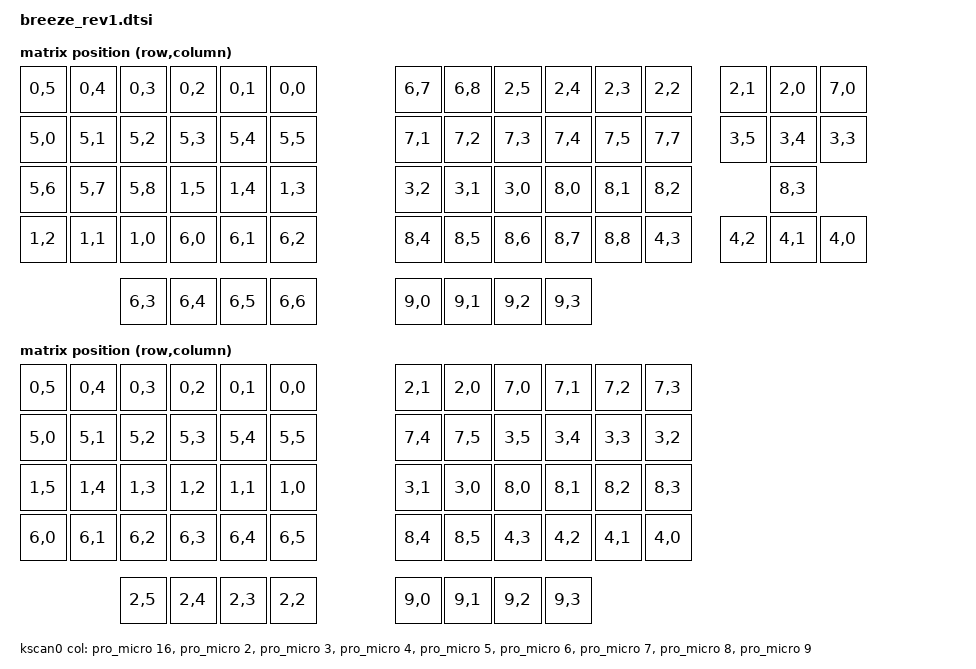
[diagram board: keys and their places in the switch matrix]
/*
 * Copyright (c) 2022 The ZMK Contributors
 *
 * SPDX-License-Identifier: MIT
 */

#include <dt-bindings/zmk/matrix_transform.h>
#include <physical_layouts.dtsi>

/ {
	chosen {
		zmk,kscan = &kscan0;
	};

	default_transform: keymap_transform_0 {
		compatible = "zmk,matrix-transform";
		columns = <9>;
		rows = <10>;
// | SW6  | SW5  | SW4  | SW3  | SW2  | SW1  |                 | SW1  | SW2  | SW3  | SW4  | SW5  | SW6  | MC1  | MC2  | MC3  |
// | SW12 | SW11 | SW10 | SW9  | SW8  | SW7  |                 | SW7  | SW8  | SW9  | SW10 | SW11 | SW12 | MC4  | MC5  | MC6  |
// | SW18 | SW17 | SW16 | SW15 | SW14 | SW13 |                 | SW13 | SW14 | SW15 | SW16 | SW17 | SW18 |      |  ↑   |      |
// | SW24 | SW23 | SW22 | SW21 | SW20 | SW19 |                 | SW19 | SW20 | SW21 | SW22 | SW23 | SW24 |  ←   |  ↓   |  →   |
//                      | TC4  | TC3  | TC2  | TC1  |   | TC1  | TC2  | TC3  | TC4  |
		map = <
RC(0,5) RC(0,4) RC(0,3) RC(0,2) RC(0,1) RC(0,0)                 RC(5,0) RC(5,1) RC(5,2) RC(5,3) RC(5,4) RC(5,5) RC(5,6) RC(5,7) RC(5,8)
RC(1,5) RC(1,4) RC(1,3) RC(1,2) RC(1,1) RC(1,0)                 RC(6,0) RC(6,1) RC(6,2) RC(6,3) RC(6,4) RC(6,5) RC(6,6) RC(6,7) RC(6,8)
RC(2,5) RC(2,4) RC(2,3) RC(2,2) RC(2,1) RC(2,0)                 RC(7,0) RC(7,1) RC(7,2) RC(7,3) RC(7,4) RC(7,5)         RC(7,7)
RC(3,5) RC(3,4) RC(3,3) RC(3,2) RC(3,1) RC(3,0)                 RC(8,0) RC(8,1) RC(8,2) RC(8,3) RC(8,4) RC(8,5) RC(8,6) RC(8,7) RC(8,8)
                        RC(4,3) RC(4,2) RC(4,1) RC(4,0) RC(9,0) RC(9,1) RC(9,2) RC(9,3)
		>;
	};

	five_column_transform: keymap_transform_1 {
		compatible = "zmk,matrix-transform";
		columns = <6>;
		rows = <10>;
// | SW6  | SW5  | SW4  | SW3  | SW2  | SW1  |                 | SW1  | SW2  | SW3  | SW4  | SW5  | SW6  |
// | SW12 | SW11 | SW10 | SW9  | SW8  | SW7  |                 | SW7  | SW8  | SW9  | SW10 | SW11 | SW12 |
// | SW18 | SW17 | SW16 | SW15 | SW14 | SW13 |                 | SW13 | SW14 | SW15 | SW16 | SW17 | SW18 |
// | SW24 | SW23 | SW22 | SW21 | SW20 | SW19 |                 | SW19 | SW20 | SW21 | SW22 | SW23 | SW24 |
//                      | TC4  | TC3  | TC2  | TC1  |   | TC1  | TC2  | TC3  | TC4  |
		map = <
RC(0,5) RC(0,4) RC(0,3) RC(0,2) RC(0,1) RC(0,0)                 RC(5,0) RC(5,1) RC(5,2) RC(5,3) RC(5,4) RC(5,5)
RC(1,5) RC(1,4) RC(1,3) RC(1,2) RC(1,1) RC(1,0)                 RC(6,0) RC(6,1) RC(6,2) RC(6,3) RC(6,4) RC(6,5)
RC(2,5) RC(2,4) RC(2,3) RC(2,2) RC(2,1) RC(2,0)                 RC(7,0) RC(7,1) RC(7,2) RC(7,3) RC(7,4) RC(7,5)
RC(3,5) RC(3,4) RC(3,3) RC(3,2) RC(3,1) RC(3,0)                 RC(8,0) RC(8,1) RC(8,2) RC(8,3) RC(8,4) RC(8,5)
                        RC(4,3) RC(4,2) RC(4,1) RC(4,0) RC(9,0) RC(9,1) RC(9,2) RC(9,3)
		>;
	};


	kscan0: kscan {
		compatible = "zmk,kscan-gpio-matrix";
		label = "KSCAN";

		diode-direction = "col2row";
		col-gpios
			= <&pro_micro 16 GPIO_ACTIVE_HIGH>
			, <&pro_micro 2  GPIO_ACTIVE_HIGH>
			, <&pro_micro 3  GPIO_ACTIVE_HIGH>
			, <&pro_micro 4  GPIO_ACTIVE_HIGH>
			, <&pro_micro 5  GPIO_ACTIVE_HIGH>
			, <&pro_micro 6  GPIO_ACTIVE_HIGH>
			, <&pro_micro 7  GPIO_ACTIVE_HIGH>
			, <&pro_micro 8  GPIO_ACTIVE_HIGH>
			, <&pro_micro 9  GPIO_ACTIVE_HIGH>
			;
	};

	breeze_rev1_layout: breeze_rev1_layout {
		compatible = "zmk,physical-layout";
		display-name = "Default";
		transform = <&default_transform>;
		kscan = <&kscan0>;
		keys
		// w   h    x    y   r  rx  ry
		= <&key_physical_attrs 100 100    0    0 0 0 0>  // L0: RC(0,5)
		, <&key_physical_attrs 100 100  100    0 0 0 0>  // L1: RC(0,4)
		, <&key_physical_attrs 100 100  200    0 0 0 0>  // L2: RC(0,3)
		, <&key_physical_attrs 100 100  300    0 0 0 0>  // L3: RC(0,2)
		, <&key_physical_attrs 100 100  400    0 0 0 0>  // L4: RC(0,1)
		, <&key_physical_attrs 100 100  500    0 0 0 0>  // L5: RC(0,0)
		, <&key_physical_attrs 100 100    0  100 0 0 0>  // L6: RC(1,5)
		, <&key_physical_attrs 100 100  100  100 0 0 0>  // L7: RC(1,4)
		, <&key_physical_attrs 100 100  200  100 0 0 0>  // L8: RC(1,3)
		, <&key_physical_attrs 100 100  300  100 0 0 0>  // L9: RC(1,2)
		, <&key_physical_attrs 100 100  400  100 0 0 0>  // L10: RC(1,1)
		, <&key_physical_attrs 100 100  500  100 0 0 0>  // L11: RC(1,0)
		, <&key_physical_attrs 100 100    0  200 0 0 0>  // L12: RC(2,5)
		, <&key_physical_attrs 100 100  100  200 0 0 0>  // L13: RC(2,4)
		, <&key_physical_attrs 100 100  200  200 0 0 0>  // L14: RC(2,3)
		, <&key_physical_attrs 100 100  300  200 0 0 0>  // L15: RC(2,2)
		, <&key_physical_attrs 100 100  400  200 0 0 0>  // L16: RC(2,1)
		, <&key_physical_attrs 100 100  500  200 0 0 0>  // L17: RC(2,0)
		, <&key_physical_attrs 100 100    0  300 0 0 0>  // L18: RC(3,5)
		, <&key_physical_attrs 100 100  100  300 0 0 0>  // L19: RC(3,4)
		, <&key_physical_attrs 100 100  200  300 0 0 0>  // L20: RC(3,3)
		, <&key_physical_attrs 100 100  300  300 0 0 0>  // L21: RC(3,2)
		, <&key_physical_attrs 100 100  400  300 0 0 0>  // L22: RC(3,1)
		, <&key_physical_attrs 100 100  500  300 0 0 0>  // L23: RC(3,0)
		, <&key_physical_attrs 100 100  200  425 0 0 0>  // L24: RC(4,3) TC4
		, <&key_physical_attrs 100 100  300  425 0 0 0>  // L25: RC(4,2) TC3
		, <&key_physical_attrs 100 100  400  425 0 0 0>  // L26: RC(4,1) TC2
		, <&key_physical_attrs 100 100  500  425 0 0 0>  // L27: RC(4,0) TC1
		, <&key_physical_attrs 100 100  750    0 0 0 0>  // R0: RC(5,0) SW1
		, <&key_physical_attrs 100 100  850    0 0 0 0>  // R1: RC(5,1) SW2
		, <&key_physical_attrs 100 100  950    0 0 0 0>  // R2: RC(5,2) SW3
		, <&key_physical_attrs 100 100 1050    0 0 0 0>  // R3: RC(5,3) SW4
		, <&key_physical_attrs 100 100 1150    0 0 0 0>  // R4: RC(5,4) SW5
		, <&key_physical_attrs 100 100 1250    0 0 0 0>  // R5: RC(5,5) SW6
		, <&key_physical_attrs 100 100 1400    0 0 0 0>  // R6: RC(5,6) MC1
		, <&key_physical_attrs 100 100 1500    0 0 0 0>  // R7: RC(5,7) MC2
		, <&key_physical_attrs 100 100 1600    0 0 0 0>  // R8: RC(5,8) MC3
		, <&key_physical_attrs 100 100  750  100 0 0 0>  // R9: RC(6,0) SW7
		, <&key_physical_attrs 100 100  850  100 0 0 0>  // R10: RC(6,1) SW8
		, <&key_physical_attrs 100 100  950  100 0 0 0>  // R11: RC(6,2) SW9
		, <&key_physical_attrs 100 100 1050  100 0 0 0>  // R12: RC(6,3) SW10
		, <&key_physical_attrs 100 100 1150  100 0 0 0>  // R13: RC(6,4) SW11
		, <&key_physical_attrs 100 100 1250  100 0 0 0>  // R14: RC(6,5) SW12
		, <&key_physical_attrs 100 100 1400  100 0 0 0>  // R15: RC(6,6) MC4
		, <&key_physical_attrs 100 100 1500  100 0 0 0>  // R16: RC(6,7) MC5
		, <&key_physical_attrs 100 100 1600  100 0 0 0>  // R17: RC(6,8) MC6
		, <&key_physical_attrs 100 100  750  200 0 0 0>  // R18: RC(7,0) SW13
		, <&key_physical_attrs 100 100  850  200 0 0 0>  // R19: RC(7,1) SW14
		, <&key_physical_attrs 100 100  950  200 0 0 0>  // R20: RC(7,2) SW15
		, <&key_physical_attrs 100 100 1050  200 0 0 0>  // R21: RC(7,3) SW16
		, <&key_physical_attrs 100 100 1150  200 0 0 0>  // R22: RC(7,4) SW17
		, <&key_physical_attrs 100 100 1250  200 0 0 0>  // R23: RC(7,5) SW18
		, <&key_physical_attrs 100 100 1500  200 0 0 0>  // R24: RC(7,7) UP
		, <&key_physical_attrs 100 100  750  300 0 0 0>  // R25: RC(8,0) SW19
		, <&key_physical_attrs 100 100  850  300 0 0 0>  // R26: RC(8,1) SW20
		, <&key_physical_attrs 100 100  950  300 0 0 0>  // R27: RC(8,2) SW21
		, <&key_physical_attrs 100 100 1050  300 0 0 0>  // R28: RC(8,3) SW22
		, <&key_physical_attrs 100 100 1150  300 0 0 0>  // R29: RC(8,4) SW23
		, <&key_physical_attrs 100 100 1250  300 0 0 0>  // R30: RC(8,5) SW24
		, <&key_physical_attrs 100 100 1400  300 0 0 0>  // R31: RC(8,6) LEFT
		, <&key_physical_attrs 100 100 1500  300 0 0 0>  // R32: RC(8,7) DOWN
		, <&key_physical_attrs 100 100 1600  300 0 0 0>  // R33: RC(8,8) RIGHT
		, <&key_physical_attrs 100 100  750  425 0 0 0>  // R34: RC(9,0) TC1
		, <&key_physical_attrs 100 100  850  425 0 0 0>  // R35: RC(9,1) TC2
		, <&key_physical_attrs 100 100  950  425 0 0 0>  // R36: RC(9,2) TC3
		, <&key_physical_attrs 100 100 1050  425 0 0 0>  // R37: RC(9,3) TC4
		;
	};

	breeze_rev1_five_col_layout: breeze_rev1_five_col_layout {
		compatible = "zmk,physical-layout";
		display-name = "Five Column";
		transform = <&five_column_transform>;
		kscan = <&kscan0>;
		keys
		// w   h    x    y   r  rx  ry
		= <&key_physical_attrs 100 100    0    0 0 0 0>  // L0: RC(0,5)
		, <&key_physical_attrs 100 100  100    0 0 0 0>  // L1: RC(0,4)
		, <&key_physical_attrs 100 100  200    0 0 0 0>  // L2: RC(0,3)
		, <&key_physical_attrs 100 100  300    0 0 0 0>  // L3: RC(0,2)
		, <&key_physical_attrs 100 100  400    0 0 0 0>  // L4: RC(0,1)
		, <&key_physical_attrs 100 100  500    0 0 0 0>  // L5: RC(0,0)
		, <&key_physical_attrs 100 100    0  100 0 0 0>  // L6: RC(1,5)
		, <&key_physical_attrs 100 100  100  100 0 0 0>  // L7: RC(1,4)
		, <&key_physical_attrs 100 100  200  100 0 0 0>  // L8: RC(1,3)
		, <&key_physical_attrs 100 100  300  100 0 0 0>  // L9: RC(1,2)
		, <&key_physical_attrs 100 100  400  100 0 0 0>  // L10: RC(1,1)
		, <&key_physical_attrs 100 100  500  100 0 0 0>  // L11: RC(1,0)
		, <&key_physical_attrs 100 100    0  200 0 0 0>  // L12: RC(2,5)
		, <&key_physical_attrs 100 100  100  200 0 0 0>  // L13: RC(2,4)
		, <&key_physical_attrs 100 100  200  200 0 0 0>  // L14: RC(2,3)
		, <&key_physical_attrs 100 100  300  200 0 0 0>  // L15: RC(2,2)
		, <&key_physical_attrs 100 100  400  200 0 0 0>  // L16: RC(2,1)
		, <&key_physical_attrs 100 100  500  200 0 0 0>  // L17: RC(2,0)
		, <&key_physical_attrs 100 100    0  300 0 0 0>  // L18: RC(3,5)
		, <&key_physical_attrs 100 100  100  300 0 0 0>  // L19: RC(3,4)
		, <&key_physical_attrs 100 100  200  300 0 0 0>  // L20: RC(3,3)
		, <&key_physical_attrs 100 100  300  300 0 0 0>  // L21: RC(3,2)
		, <&key_physical_attrs 100 100  400  300 0 0 0>  // L22: RC(3,1)
		, <&key_physical_attrs 100 100  500  300 0 0 0>  // L23: RC(3,0)
		, <&key_physical_attrs 100 100  200  425 0 0 0>  // L24: RC(4,3) TC4
		, <&key_physical_attrs 100 100  300  425 0 0 0>  // L25: RC(4,2) TC3
		, <&key_physical_attrs 100 100  400  425 0 0 0>  // L26: RC(4,1) TC2
		, <&key_physical_attrs 100 100  500  425 0 0 0>  // L27: RC(4,0) TC1
		, <&key_physical_attrs 100 100  750    0 0 0 0>  // R0: RC(5,0)
		, <&key_physical_attrs 100 100  850    0 0 0 0>  // R1: RC(5,1)
		, <&key_physical_attrs 100 100  950    0 0 0 0>  // R2: RC(5,2)
		, <&key_physical_attrs 100 100 1050    0 0 0 0>  // R3: RC(5,3)
		, <&key_physical_attrs 100 100 1150    0 0 0 0>  // R4: RC(5,4)
		, <&key_physical_attrs 100 100 1250    0 0 0 0>  // R5: RC(5,5)
		, <&key_physical_attrs 100 100  750  100 0 0 0>  // R6: RC(6,0)
		, <&key_physical_attrs 100 100  850  100 0 0 0>  // R7: RC(6,1)
		, <&key_physical_attrs 100 100  950  100 0 0 0>  // R8: RC(6,2)
		, <&key_physical_attrs 100 100 1050  100 0 0 0>  // R9: RC(6,3)
		, <&key_physical_attrs 100 100 1150  100 0 0 0>  // R10: RC(6,4)
		, <&key_physical_attrs 100 100 1250  100 0 0 0>  // R11: RC(6,5)
		, <&key_physical_attrs 100 100  750  200 0 0 0>  // R12: RC(7,0)
		, <&key_physical_attrs 100 100  850  200 0 0 0>  // R13: RC(7,1)
		, <&key_physical_attrs 100 100  950  200 0 0 0>  // R14: RC(7,2)
		, <&key_physical_attrs 100 100 1050  200 0 0 0>  // R15: RC(7,3)
		, <&key_physical_attrs 100 100 1150  200 0 0 0>  // R16: RC(7,4)
		, <&key_physical_attrs 100 100 1250  200 0 0 0>  // R17: RC(7,5)
		, <&key_physical_attrs 100 100  750  300 0 0 0>  // R18: RC(8,0)
		, <&key_physical_attrs 100 100  850  300 0 0 0>  // R19: RC(8,1)
		, <&key_physical_attrs 100 100  950  300 0 0 0>  // R20: RC(8,2)
		, <&key_physical_attrs 100 100 1050  300 0 0 0>  // R21: RC(8,3)
		, <&key_physical_attrs 100 100 1150  300 0 0 0>  // R22: RC(8,4)
		, <&key_physical_attrs 100 100 1250  300 0 0 0>  // R23: RC(8,5)
		, <&key_physical_attrs 100 100  750  425 0 0 0>  // R24: RC(9,0)
		, <&key_physical_attrs 100 100  850  425 0 0 0>  // R25: RC(9,1)
		, <&key_physical_attrs 100 100  950  425 0 0 0>  // R26: RC(9,2)
		, <&key_physical_attrs 100 100 1050  425 0 0 0>  // R27: RC(9,3)
		;
	};
};
